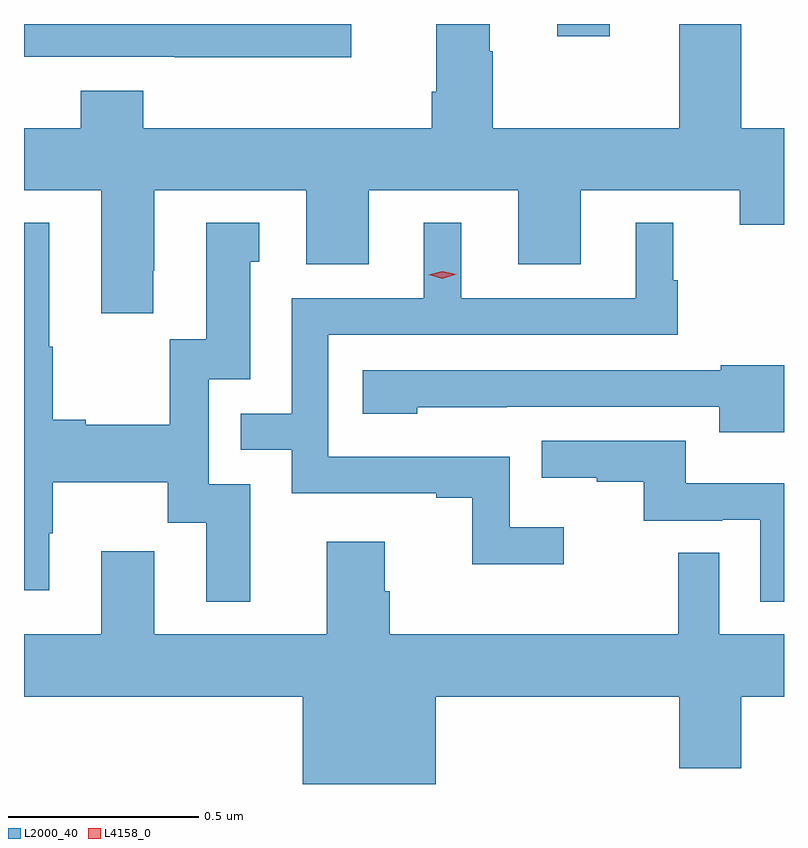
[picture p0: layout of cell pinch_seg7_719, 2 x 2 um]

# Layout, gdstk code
import gdstk
lib = gdstk.Library(unit=1e-6, precision=1e-09)
def R(c, l, rs):  # rectangles x0, y0, x1, y1
    for r in rs: c.add(gdstk.rectangle(r[:2], r[2:], *l))
def P(c, l, *ps):  # polygons
    for p in ps: c.add(gdstk.Polygon(p, *l))
L2000_40 = (2000, 40)
L4158_0 = (4158, 0)

pinch_seg7_719 = lib.new_cell('pinch_seg7_719')
R(pinch_seg7_719, L2000_40, [(212.639,1002.354,212.777,1002.386)])
P(pinch_seg7_719, L2000_40, [(211.576,1001.737),(211.579,1001.737),(211.579,1001.948),(211.979,1001.948),(211.979,1001.754),(212.143,1001.754),(212.143,1001.948),(212.537,1001.948),(212.537,1001.754),(212.701,1001.754),(212.701,1001.948),(213.119,1001.948),(213.119,1001.858),(213.236,1001.858),(213.236,1002.112),(213.124,1002.112),(213.124,1002.386),(212.96,1002.386),(212.96,1002.112),(212.469,1002.112),(212.469,1002.314),(212.461,1002.314),(212.461,1002.386),(212.321,1002.386),(212.321,1002.208),(212.309,1002.208),(212.309,1002.112),(211.55,1002.112),(211.55,1002.211),(211.385,1002.211),(211.385,1002.112),(211.236,1002.112),(211.236,1001.948),(211.439,1001.948),(211.439,1001.625),(211.576,1001.625)],
  [(212.097,1002.386),(211.236,1002.386),(211.236,1002.3),(211.633,1002.3),(211.633,1002.299),(212.097,1002.299)],
  [(212.656,1001.062),(212.514,1001.062),(212.514,1001.247),(212.037,1001.247),(212.037,1001.568),(212.956,1001.568),(212.956,1001.712),(212.944,1001.712),(212.944,1001.863),(212.846,1001.863),(212.846,1001.664),(212.386,1001.664),(212.386,1001.863),(212.288,1001.863),(212.288,1001.664),(211.941,1001.664),(211.941,1001.361),(211.807,1001.361),(211.807,1001.265),(211.941,1001.265),(211.941,1001.151),(212.321,1001.151),(212.321,1001.139),(212.416,1001.139),(212.416,1000.964),(212.656,1000.964)],
  [(211.831,1001.175),(211.722,1001.175),(211.722,1001.451),(211.831,1001.451),(211.831,1001.76),(211.855,1001.76),(211.855,1001.863),(211.715,1001.863),(211.715,1001.556),(211.619,1001.556),(211.619,1001.332),(211.399,1001.332),(211.399,1001.345),(211.311,1001.345),(211.311,1001.537),(211.303,1001.537),(211.303,1001.863),(211.236,1001.863),(211.236,1000.896),(211.303,1000.896),(211.303,1001.046),(211.311,1001.046),(211.311,1001.18),(211.614,1001.18),(211.614,1001.074),(211.715,1001.074),(211.715,1000.866),(211.831,1000.866)],
  [(213.236,1001.488),(213.069,1001.488),(213.069,1001.475),(212.127,1001.475),(212.127,1001.36),(212.271,1001.36),(212.271,1001.378),(212.507,1001.378),(212.507,1001.379),(213.065,1001.379),(213.065,1001.312),(213.236,1001.312)],
  [(213.236,1001.176),(213.235,1001.177),(212.977,1001.177),(212.977,1001.289),(212.599,1001.289),(212.599,1001.192),(212.743,1001.192),(212.743,1001.181),(212.867,1001.181),(212.867,1001.079),(213.074,1001.079),(213.074,1001.082),(213.174,1001.082),(213.174,1000.865),(213.236,1000.865)],
  [(212.32,1000.616),(212.96,1000.616),(212.96,1000.428),(213.124,1000.428),(213.124,1000.616),(213.236,1000.616),(213.236,1000.78),(213.066,1000.78),(213.066,1000.994),(212.958,1000.994),(212.958,1000.78),(212.198,1000.78),(212.198,1000.893),(212.185,1000.893),(212.185,1001.023),(212.033,1001.023),(212.033,1000.78),(211.579,1000.78),(211.579,1000.999),(211.439,1000.999),(211.439,1000.78),(211.236,1000.78),(211.236,1000.616),(211.97,1000.616),(211.97,1000.386),(212.32,1000.386)])
P(pinch_seg7_719, L4158_0, [(212.337,1001.716),(212.301,1001.726),(212.301,1001.726),(212.301,1001.726),(212.337,1001.736),(212.373,1001.727),(212.373,1001.727),(212.373,1001.727)])

lib.write_gds('pinch_seg7_719.gds')
